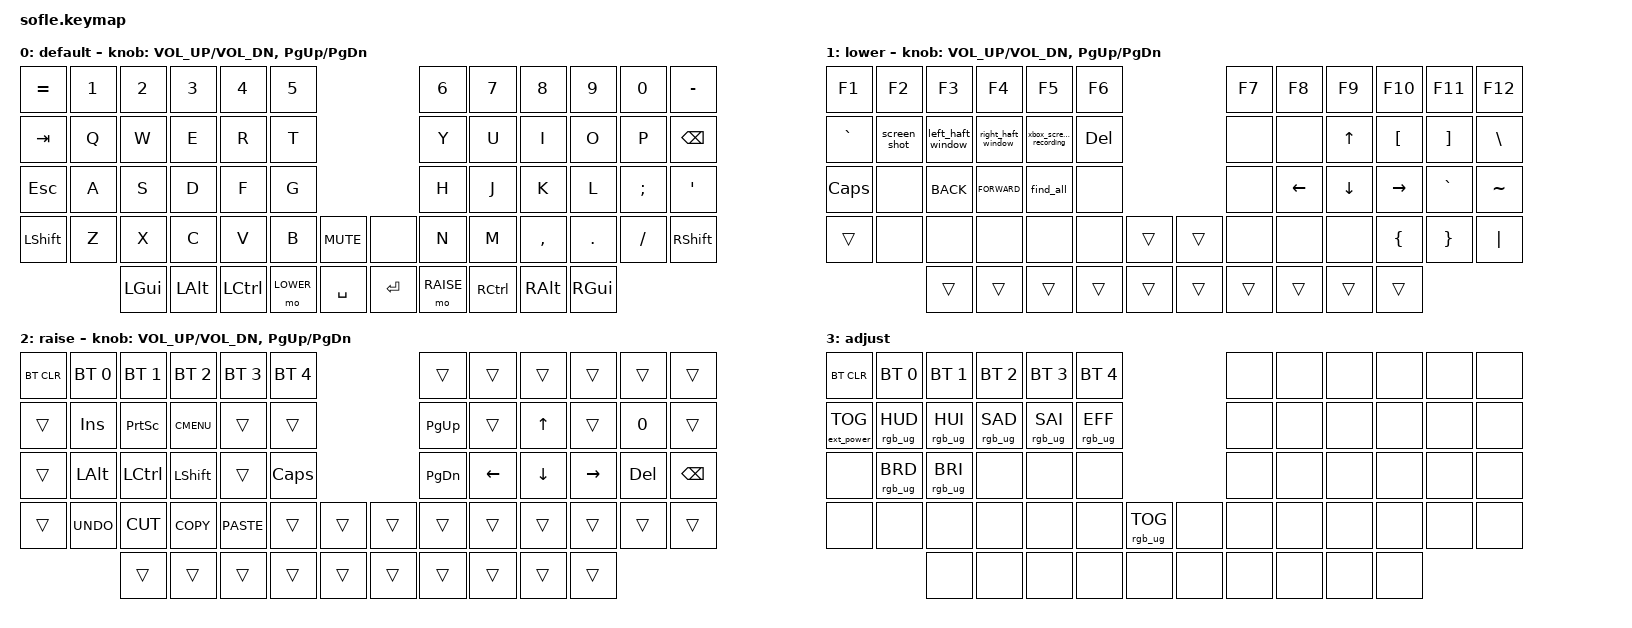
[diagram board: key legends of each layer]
/*
 * Copyright (c) 2020 The ZMK Contributors
 *
 * SPDX-License-Identifier: MIT
 */

#include <behaviors.dtsi>
#include <dt-bindings/zmk/bt.h>
#include <dt-bindings/zmk/ext_power.h>
#include <dt-bindings/zmk/keys.h>
#include <dt-bindings/zmk/rgb.h>

#define BASE 0
#define LOWER 1
#define RAISE 2
#define ADJUST 3

/ {
    // Activate ADJUST layer by pressing raise and lower

    conditional_layers {
        compatible = "zmk,conditional-layers";

        adjust_layer {
            if-layers = <LOWER RAISE>;
            then-layer = <ADJUST>;
        };
    };

    macros {
        screen_shot: screen_shot {
            compatible = "zmk,behavior-macro";
            #binding-cells = <0>;
            bindings = <&kp LEFT_WIN &kp LEFT_SHIFT &kp S>, <&macro_press>;

            label = "SCREEN_SHOT";
        };

        left_haft_window: left_haft_window {
            compatible = "zmk,behavior-macro";
            #binding-cells = <0>;
            bindings = <&kp LEFT_WIN &kp LEFT>, <&macro_press>;

            label = "LEFT_HAFT_WINDOW";
        };

        right_haft_window: right_haft_window {
            compatible = "zmk,behavior-macro";
            #binding-cells = <0>;
            bindings = <&kp LEFT_WIN &kp RIGHT>, <&macro_press>;

            label = "RIGHT_HAFT_WINDOW";
        };

        xbox_screen_recording: xbox_screen_recording {
            compatible = "zmk,behavior-macro";
            #binding-cells = <0>;
            bindings = <&kp LEFT_WIN &kp G>, <&macro_press>;

            label = "XBOX_SCREEN_RECORDING";
        };

        find_all: find_all {
            compatible = "zmk,behavior-macro";
            #binding-cells = <0>;
            bindings = <&kp LCTRL &kp LEFT_SHIFT &kp F>, <&macro_press>;

            label = "FIND_ALL";
        };
    };

    keymap {
        compatible = "zmk,keymap";

        default_layer {
            display-name = "default";

            // ------------------------------------------------------------------------------------------------------------
            // |   `   |  1  |  2  |  3   |  4   |  5   |                   |  6   |  7    |  8    |  9   |   0   |       |
            // |  ESC  |  Q  |  W  |  E   |  R   |  T   |                   |  Y   |  U    |  I    |  O   |   P   | BKSPC |
            // |  TAB  |  A  |  S  |  D   |  F   |  G   |                   |  H   |  J    |  K    |  L   |   ;   |   '   |
            // | SHIFT |  Z  |  X  |  C   |  V   |  B   |  MUTE  |  |       |  N   |  M    |  ,    |  .   |   /   | SHIFT |
            //               | GUI | ALT  | CTRL | LOWER|  ENTER |  | SPACE | RAISE| CTRL  | ALT   | GUI  |

            bindings = <
&kp EQUAL   &kp N1  &kp N2    &kp N3    &kp N4     &kp N5                              &kp N6     &kp N7     &kp N8     &kp N9    &kp N0    &kp MINUS
&kp TAB     &kp Q   &kp W     &kp E     &kp R      &kp T                               &kp Y      &kp U      &kp I      &kp O     &kp P     &kp BSPC
&kp ESCAPE  &kp A   &kp S     &kp D     &kp F      &kp G                               &kp H      &kp J      &kp K      &kp L     &kp SEMI  &kp SQT
&kp LSHFT   &kp Z   &kp X     &kp C     &kp V      &kp B      &kp C_MUTE    &none      &kp N      &kp M      &kp COMMA  &kp DOT   &kp FSLH  &kp RSHFT
                    &kp LGUI  &kp LALT  &kp LCTRL  &mo LOWER  &kp SPACE     &kp ENTER  &mo RAISE  &kp RCTRL  &kp RALT   &kp RGUI
            >;

            sensor-bindings = <&inc_dec_kp C_VOL_UP C_VOL_DN &inc_dec_kp PG_UP PG_DN>;
        };

        lower_layer {
            display-name = "lower";

            // TODO: Some binds are waiting for shifted keycode support.
            // ------------------------------------------------------------------------------------------------------------
            // |       |  F1 |  F2 |  F3  |  F4  |  F5  |                   |  F6  |  F7   |  F8   |  F9  |  F10  |  F11  |
            // |   `   |  1  |  2  |  3   |  4   |  5   |                   |  6   |  7    |  8    |  9   |   0   |  F12  |
            // |       |  !  |  @  |  #   |  $   |  %   |                   |  ^   |  &    |  *    |  (   |   )   |   |   |
            // |       |  =  |  -  |  +   |  {   |  }   |        |  |       |  [   |  ]    |  ;    |  :   |   \   |       |
            //               |     |      |      |      |        |  |       |      |       |       |      |

            bindings = <
&kp F1        &kp F2        &kp F3             &kp F4              &kp F5                  &kp F6                        &kp F7  &kp F8    &kp F9        &kp F10           &kp F11            &kp F12
&kp GRAVE     &screen_shot  &left_haft_window  &right_haft_window  &xbox_screen_recording  &kp DELETE                    &none   &none     &kp UP_ARROW  &kp LEFT_BRACKET  &kp RIGHT_BRACKET  &kp BACKSLASH
&kp CAPSLOCK  &none         &kp K_BACK         &kp K_FORWARD       &find_all               &none                         &none   &kp LEFT  &kp DOWN      &kp RIGHT         &kp GRAVE          &kp TILDE
&trans        &none         &none              &none               &none                   &none       &trans    &trans  &none   &none     &none         &kp LEFT_BRACE    &kp RIGHT_BRACE    &kp PIPE
                            &trans             &trans              &trans                  &trans      &trans    &trans  &trans  &trans    &trans        &trans
            >;

            sensor-bindings = <&inc_dec_kp C_VOL_UP C_VOL_DN &inc_dec_kp PG_UP PG_DN>;
        };

        raise_layer {
            display-name = "raise";

            // ------------------------------------------------------------------------------------------------------------
            // | BTCLR | BT1  | BT2  |  BT3  |  BT4  |  BT5 |                |      |      |       |      |       |       |
            // |       | INS  | PSCR | GUI   |       |      |                | PGUP |      |   ^   |      |       |       |
            // |       | ALT  | CTRL | SHIFT |       | CAPS |                | PGDN |   <- |   v   |  ->  |  DEL  | BKSPC |
            // |       | UNDO | CUT  | COPY  | PASTE |      |      |  |      |      |      |       |      |       |       |
            //                |      |       |       |      |      |  |      |      |      |       |      |

            bindings = <
&bt BT_CLR  &bt BT_SEL 0  &bt BT_SEL 1  &bt BT_SEL 2  &bt BT_SEL 3  &bt BT_SEL 4                    &trans     &trans    &trans    &trans     &trans   &trans
&trans      &kp INS       &kp PSCRN     &kp K_CMENU   &trans        &trans                          &kp PG_UP  &trans    &kp UP    &trans     &kp N0   &trans
&trans      &kp LALT      &kp LCTRL     &kp LSHFT     &trans        &kp CLCK                        &kp PG_DN  &kp LEFT  &kp DOWN  &kp RIGHT  &kp DEL  &kp BSPC
&trans      &kp K_UNDO    &kp K_CUT     &kp K_COPY    &kp K_PASTE   &trans        &trans    &trans  &trans     &trans    &trans    &trans     &trans   &trans
                          &trans        &trans        &trans        &trans        &trans    &trans  &trans     &trans    &trans    &trans
            >;

            sensor-bindings = <&inc_dec_kp C_VOL_UP C_VOL_DN &inc_dec_kp PG_UP PG_DN>;
        };

        adjust_layer {
            // ----------------------------------------------------------------------------------------------------------------------------
            // | BTCLR  |  BT1    |  BT2    |   BT3   |   BT4   |   BT5   |                  |      |      |       |      |       |       |
            // | EXTPWR | RGB_HUD | RGB_HUI | RGB_SAD | RGB_SAI | RGB_EFF |                  |      |      |       |      |       |       |
            // |        | RGB_BRD | RGB_BRI |         |         |         |                  |      |      |       |      |       |       |
            // |        |         |         |         |         |         | RGB_TOG | |      |      |      |       |      |       |       |
            //                    |         |         |         |         |         | |      |      |      |       |      |

            display-name = "adjust";
            bindings = <
&bt BT_CLR         &bt BT_SEL 0     &bt BT_SEL 1     &bt BT_SEL 2     &bt BT_SEL 3     &bt BT_SEL 4                               &none  &none  &none  &none  &none  &none
&ext_power EP_TOG  &rgb_ug RGB_HUD  &rgb_ug RGB_HUI  &rgb_ug RGB_SAD  &rgb_ug RGB_SAI  &rgb_ug RGB_EFF                            &none  &none  &none  &none  &none  &none
&none              &rgb_ug RGB_BRD  &rgb_ug RGB_BRI  &none            &none            &none                                      &none  &none  &none  &none  &none  &none
&none              &none            &none            &none            &none            &none            &rgb_ug RGB_TOG    &none  &none  &none  &none  &none  &none  &none
                                    &none            &none            &none            &none            &none              &none  &none  &none  &none  &none
            >;
        };
    };
};
